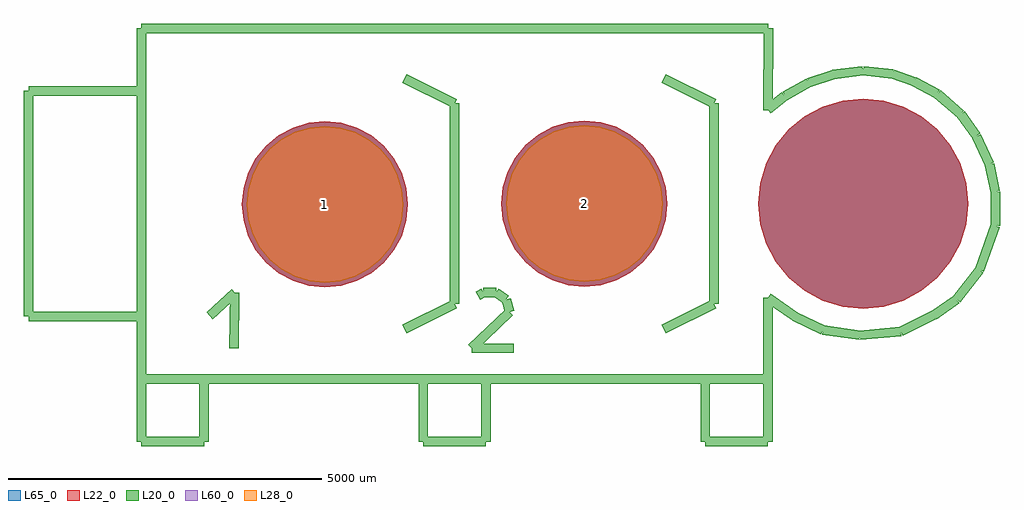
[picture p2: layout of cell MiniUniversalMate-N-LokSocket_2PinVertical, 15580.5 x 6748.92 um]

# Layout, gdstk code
import gdstk
lib = gdstk.Library(unit=1e-6, precision=1e-09)
def P(c, l, *ps):  # polygons
    for p in ps: c.add(gdstk.Polygon(p, *l))
L20_0 = (20, 0)
L22_0 = (22, 0)
L28_0 = (28, 0)
L60_0 = (60, 0)
L65_0 = (65, 0)

miniuniversalmate_n_loks = lib.new_cell('MiniUniversalMate-N-LokSocket_2PinVertical')
P(miniuniversalmate_n_loks, L22_0, [(-745.42,-10.16),(-770.873,248.272),(-846.255,496.773),(-968.669,725.793),(-1133.41,926.53),(-1334.147,1091.271),(-1563.167,1213.685),(-1811.668,1289.067),(-2070.1,1314.52),(-2328.532,1289.067),(-2577.033,1213.685),(-2806.053,1091.271),(-3006.79,926.53),(-3171.531,725.793),(-3293.945,496.773),(-3369.327,248.272),(-3394.78,-10.16),(-3369.327,-268.592),(-3293.945,-517.093),(-3171.531,-746.113),(-3006.79,-946.85),(-2806.053,-1111.591),(-2577.033,-1234.005),(-2328.532,-1309.387),(-2070.1,-1334.84),(-1811.668,-1309.387),(-1563.167,-1234.005),(-1334.147,-1111.591),(-1133.41,-946.85),(-968.669,-746.113),(-846.255,-517.093),(-770.873,-268.592)],
  [(8195.38,0),(8163.192,326.815),(8067.863,641.071),(7913.058,930.691),(7704.725,1184.545),(7450.871,1392.878),(7161.251,1547.683),(6846.995,1643.012),(6520.18,1675.2),(6193.365,1643.012),(5879.109,1547.683),(5589.489,1392.878),(5335.635,1184.545),(5127.302,930.691),(4972.497,641.071),(4877.168,326.815),(4844.98,0),(4877.168,-326.815),(4972.497,-641.071),(5127.302,-930.691),(5335.635,-1184.545),(5589.489,-1392.878),(5879.109,-1547.683),(6193.365,-1643.012),(6520.18,-1675.2),(6846.995,-1643.012),(7161.251,-1547.683),(7450.871,-1392.878),(7704.725,-1184.545),(7913.058,-930.691),(8067.863,-641.071),(8163.192,-326.815)],
  [(3394.78,0),(3369.327,258.432),(3293.945,506.933),(3171.531,735.953),(3006.79,936.69),(2806.053,1101.431),(2577.033,1223.845),(2328.532,1299.227),(2070.1,1324.68),(1811.668,1299.227),(1563.167,1223.845),(1334.147,1101.431),(1133.41,936.69),(968.669,735.953),(846.255,506.933),(770.873,258.432),(745.42,0),(770.873,-258.432),(846.255,-506.933),(968.669,-735.953),(1133.41,-936.69),(1334.147,-1101.431),(1563.167,-1223.845),(1811.668,-1299.227),(2070.1,-1324.68),(2328.532,-1299.227),(2577.033,-1223.845),(2806.053,-1101.431),(3006.79,-936.69),(3171.531,-735.953),(3293.945,-506.933),(3369.327,-258.432)])
P(miniuniversalmate_n_loks, L28_0, [(-820.42,-10.16),(-844.432,233.64),(-915.546,468.072),(-1031.029,684.125),(-1186.443,873.497),(-1375.815,1028.911),(-1591.868,1144.394),(-1826.3,1215.508),(-2070.1,1239.52),(-2313.9,1215.508),(-2548.332,1144.394),(-2764.385,1028.911),(-2953.757,873.497),(-3109.171,684.125),(-3224.654,468.072),(-3295.768,233.64),(-3319.78,-10.16),(-3295.768,-253.96),(-3224.654,-488.392),(-3109.171,-704.445),(-2953.757,-893.817),(-2764.385,-1049.231),(-2548.332,-1164.714),(-2313.9,-1235.828),(-2070.1,-1259.84),(-1826.3,-1235.828),(-1591.868,-1164.714),(-1375.815,-1049.231),(-1186.443,-893.817),(-1031.029,-704.445),(-915.546,-488.392),(-844.432,-253.96)],
  [(3319.78,0),(3295.768,243.8),(3224.654,478.232),(3109.171,694.285),(2953.757,883.657),(2764.385,1039.071),(2548.332,1154.554),(2313.9,1225.668),(2070.1,1249.68),(1826.3,1225.668),(1591.868,1154.554),(1375.815,1039.071),(1186.443,883.657),(1031.029,694.285),(915.546,478.232),(844.432,243.8),(820.42,0),(844.432,-243.8),(915.546,-478.232),(1031.029,-694.285),(1186.443,-883.657),(1375.815,-1039.071),(1591.868,-1154.554),(1826.3,-1225.668),(2070.1,-1249.68),(2313.9,-1225.668),(2548.332,-1154.554),(2764.385,-1039.071),(2953.757,-883.657),(3109.171,-694.285),(3224.654,-478.232),(3295.768,-243.8)])
P(miniuniversalmate_n_loks, L60_0, [(-820.42,-10.16),(-844.432,233.64),(-915.546,468.072),(-1031.029,684.125),(-1186.443,873.497),(-1375.815,1028.911),(-1591.868,1144.394),(-1826.3,1215.508),(-2070.1,1239.52),(-2313.9,1215.508),(-2548.332,1144.394),(-2764.385,1028.911),(-2953.757,873.497),(-3109.171,684.125),(-3224.654,468.072),(-3295.768,233.64),(-3319.78,-10.16),(-3295.768,-253.96),(-3224.654,-488.392),(-3109.171,-704.445),(-2953.757,-893.817),(-2764.385,-1049.231),(-2548.332,-1164.714),(-2313.9,-1235.828),(-2070.1,-1259.84),(-1826.3,-1235.828),(-1591.868,-1164.714),(-1375.815,-1049.231),(-1186.443,-893.817),(-1031.029,-704.445),(-915.546,-488.392),(-844.432,-253.96)],
  [(3319.78,0),(3295.768,243.8),(3224.654,478.232),(3109.171,694.285),(2953.757,883.657),(2764.385,1039.071),(2548.332,1154.554),(2313.9,1225.668),(2070.1,1249.68),(1826.3,1225.668),(1591.868,1154.554),(1375.815,1039.071),(1186.443,883.657),(1031.029,694.285),(915.546,478.232),(844.432,243.8),(820.42,0),(844.432,-243.8),(915.546,-478.232),(1031.029,-694.285),(1186.443,-883.657),(1375.815,-1039.071),(1591.868,-1154.554),(1826.3,-1225.668),(2070.1,-1249.68),(2313.9,-1225.668),(2548.332,-1154.554),(2764.385,-1039.071),(2953.757,-883.657),(3109.171,-694.285),(3224.654,-478.232),(3295.768,-243.8)])
P(miniuniversalmate_n_loks, L65_0, [(-745.42,-10.16),(-770.873,248.272),(-846.255,496.773),(-968.669,725.793),(-1133.41,926.53),(-1334.147,1091.271),(-1563.167,1213.685),(-1811.668,1289.067),(-2070.1,1314.52),(-2328.532,1289.067),(-2577.033,1213.685),(-2806.053,1091.271),(-3006.79,926.53),(-3171.531,725.793),(-3293.945,496.773),(-3369.327,248.272),(-3394.78,-10.16),(-3369.327,-268.592),(-3293.945,-517.093),(-3171.531,-746.113),(-3006.79,-946.85),(-2806.053,-1111.591),(-2577.033,-1234.005),(-2328.532,-1309.387),(-2070.1,-1334.84),(-1811.668,-1309.387),(-1563.167,-1234.005),(-1334.147,-1111.591),(-1133.41,-946.85),(-968.669,-746.113),(-846.255,-517.093),(-770.873,-268.592)],
  [(8195.38,0),(8163.192,326.815),(8067.863,641.071),(7913.058,930.691),(7704.725,1184.545),(7450.871,1392.878),(7161.251,1547.683),(6846.995,1643.012),(6520.18,1675.2),(6193.365,1643.012),(5879.109,1547.683),(5589.489,1392.878),(5335.635,1184.545),(5127.302,930.691),(4972.497,641.071),(4877.168,326.815),(4844.98,0),(4877.168,-326.815),(4972.497,-641.071),(5127.302,-930.691),(5335.635,-1184.545),(5589.489,-1392.878),(5879.109,-1547.683),(6193.365,-1643.012),(6520.18,-1675.2),(6846.995,-1643.012),(7161.251,-1547.683),(7450.871,-1392.878),(7704.725,-1184.545),(7913.058,-930.691),(8067.863,-641.071),(8163.192,-326.815)],
  [(3394.78,0),(3369.327,258.432),(3293.945,506.933),(3171.531,735.953),(3006.79,936.69),(2806.053,1101.431),(2577.033,1223.845),(2328.532,1299.227),(2070.1,1324.68),(1811.668,1299.227),(1563.167,1223.845),(1334.147,1101.431),(1133.41,936.69),(968.669,735.953),(846.255,506.933),(770.873,258.432),(745.42,0),(770.873,-258.432),(846.255,-506.933),(968.669,-735.953),(1133.41,-936.69),(1334.147,-1101.431),(1563.167,-1223.845),(1811.668,-1299.227),(2070.1,-1324.68),(2328.532,-1299.227),(2577.033,-1223.845),(2806.053,-1101.431),(3006.79,-936.69),(3171.531,-735.953),(3293.945,-506.933),(3369.327,-258.432)])
miniuniversalmate_n_loks.add(gdstk.FlexPath([(5008.88,2799.08),(5001.26,1490.98)], 149.998, ends="flush", simple_path=True, layer=20, datatype=0))  # L20_0
miniuniversalmate_n_loks.add(gdstk.FlexPath([(-5001.26,2799.08),(5008.88,2799.08)], 149.998, ends="flush", simple_path=True, layer=20, datatype=0))  # L20_0
miniuniversalmate_n_loks.add(gdstk.FlexPath([(5001.26,-2799.08),(5001.26,-1501.14)], 149.998, ends="flush", simple_path=True, layer=20, datatype=0))  # L20_0
miniuniversalmate_n_loks.add(gdstk.FlexPath([(-5001.26,-2799.08),(5001.26,-2799.08)], 149.998, ends="flush", simple_path=True, layer=20, datatype=0))  # L20_0
miniuniversalmate_n_loks.add(gdstk.FlexPath([(-5001.26,2799.08),(-5001.26,-2799.08)], 149.998, ends="flush", simple_path=True, layer=20, datatype=0))  # L20_0
miniuniversalmate_n_loks.add(gdstk.FlexPath([(5430.52,-1800.86),(5001.26,-1501.14)], 149.998, ends="flush", simple_path=True, layer=20, datatype=0))  # L20_0
miniuniversalmate_n_loks.add(gdstk.FlexPath([(5880.1,-2019.3),(5430.52,-1800.86)], 149.998, ends="flush", simple_path=True, layer=20, datatype=0))  # L20_0
miniuniversalmate_n_loks.add(gdstk.FlexPath([(6469.38,-2100.58),(5880.1,-2019.3)], 149.998, ends="flush", simple_path=True, layer=20, datatype=0))  # L20_0
miniuniversalmate_n_loks.add(gdstk.FlexPath([(7119.62,-2039.62),(6469.38,-2100.58)], 149.998, ends="flush", simple_path=True, layer=20, datatype=0))  # L20_0
miniuniversalmate_n_loks.add(gdstk.FlexPath([(7650.48,-1780.54),(7119.62,-2039.62)], 149.998, ends="flush", simple_path=True, layer=20, datatype=0))  # L20_0
miniuniversalmate_n_loks.add(gdstk.FlexPath([(8011.16,-1529.08),(7650.48,-1780.54)], 149.998, ends="flush", simple_path=True, layer=20, datatype=0))  # L20_0
miniuniversalmate_n_loks.add(gdstk.FlexPath([(8379.46,-1059.18),(8011.16,-1529.08)], 149.998, ends="flush", simple_path=True, layer=20, datatype=0))  # L20_0
miniuniversalmate_n_loks.add(gdstk.FlexPath([(8630.92,-350.52),(8379.46,-1059.18)], 149.998, ends="flush", simple_path=True, layer=20, datatype=0))  # L20_0
miniuniversalmate_n_loks.add(gdstk.FlexPath([(8630.92,190.5),(8630.92,-350.52)], 149.998, ends="flush", simple_path=True, layer=20, datatype=0))  # L20_0
miniuniversalmate_n_loks.add(gdstk.FlexPath([(8539.48,629.92),(8630.92,190.5)], 149.998, ends="flush", simple_path=True, layer=20, datatype=0))  # L20_0
miniuniversalmate_n_loks.add(gdstk.FlexPath([(8331.2,1079.5),(8539.48,629.92)], 149.998, ends="flush", simple_path=True, layer=20, datatype=0))  # L20_0
miniuniversalmate_n_loks.add(gdstk.FlexPath([(8079.74,1430.02),(8331.2,1079.5)], 149.998, ends="flush", simple_path=True, layer=20, datatype=0))  # L20_0
miniuniversalmate_n_loks.add(gdstk.FlexPath([(7708.9,1750.06),(8079.74,1430.02)], 149.998, ends="flush", simple_path=True, layer=20, datatype=0))  # L20_0
miniuniversalmate_n_loks.add(gdstk.FlexPath([(7330.44,1950.72),(7708.9,1750.06)], 149.998, ends="flush", simple_path=True, layer=20, datatype=0))  # L20_0
miniuniversalmate_n_loks.add(gdstk.FlexPath([(6990.08,2070.1),(7330.44,1950.72)], 149.998, ends="flush", simple_path=True, layer=20, datatype=0))  # L20_0
miniuniversalmate_n_loks.add(gdstk.FlexPath([(6520.18,2120.9),(6990.08,2070.1)], 149.998, ends="flush", simple_path=True, layer=20, datatype=0))  # L20_0
miniuniversalmate_n_loks.add(gdstk.FlexPath([(6040.12,2059.94),(6520.18,2120.9)], 149.998, ends="flush", simple_path=True, layer=20, datatype=0))  # L20_0
miniuniversalmate_n_loks.add(gdstk.FlexPath([(5648.96,1930.4),(6040.12,2059.94)], 149.998, ends="flush", simple_path=True, layer=20, datatype=0))  # L20_0
miniuniversalmate_n_loks.add(gdstk.FlexPath([(5270.5,1719.58),(5648.96,1930.4)], 149.998, ends="flush", simple_path=True, layer=20, datatype=0))  # L20_0
miniuniversalmate_n_loks.add(gdstk.FlexPath([(5001.26,1501.14),(5270.5,1719.58)], 149.998, ends="flush", simple_path=True, layer=20, datatype=0))  # L20_0
miniuniversalmate_n_loks.add(gdstk.FlexPath([(-6799.58,-1800.86),(-5001.26,-1800.86)], 149.998, ends="flush", simple_path=True, layer=20, datatype=0))  # L20_0
miniuniversalmate_n_loks.add(gdstk.FlexPath([(-6799.58,1800.86),(-6799.58,-1800.86)], 149.998, ends="flush", simple_path=True, layer=20, datatype=0))  # L20_0
miniuniversalmate_n_loks.add(gdstk.FlexPath([(-5001.26,1800.86),(-6799.58,1800.86)], 149.998, ends="flush", simple_path=True, layer=20, datatype=0))  # L20_0
miniuniversalmate_n_loks.add(gdstk.FlexPath([(-4000.5,-3799.84),(-4000.5,-2799.08)], 149.998, ends="flush", simple_path=True, layer=20, datatype=0))  # L20_0
miniuniversalmate_n_loks.add(gdstk.FlexPath([(-5001.26,-3799.84),(-4000.5,-3799.84)], 149.998, ends="flush", simple_path=True, layer=20, datatype=0))  # L20_0
miniuniversalmate_n_loks.add(gdstk.FlexPath([(-5001.26,-2799.08),(-5001.26,-3799.84)], 149.998, ends="flush", simple_path=True, layer=20, datatype=0))  # L20_0
miniuniversalmate_n_loks.add(gdstk.FlexPath([(4000.5,-3799.84),(4000.5,-2799.08)], 149.998, ends="flush", simple_path=True, layer=20, datatype=0))  # L20_0
miniuniversalmate_n_loks.add(gdstk.FlexPath([(5001.26,-3799.84),(4000.5,-3799.84)], 149.998, ends="flush", simple_path=True, layer=20, datatype=0))  # L20_0
miniuniversalmate_n_loks.add(gdstk.FlexPath([(5001.26,-2799.08),(5001.26,-3799.84)], 149.998, ends="flush", simple_path=True, layer=20, datatype=0))  # L20_0
miniuniversalmate_n_loks.add(gdstk.FlexPath([(-500.38,-3799.84),(-500.38,-2799.08)], 149.998, ends="flush", simple_path=True, layer=20, datatype=0))  # L20_0
miniuniversalmate_n_loks.add(gdstk.FlexPath([(500.38,-3799.84),(-500.38,-3799.84)], 149.998, ends="flush", simple_path=True, layer=20, datatype=0))  # L20_0
miniuniversalmate_n_loks.add(gdstk.FlexPath([(500.38,-2799.08),(500.38,-3799.84)], 149.998, ends="flush", simple_path=True, layer=20, datatype=0))  # L20_0
miniuniversalmate_n_loks.add(gdstk.FlexPath([(0,1600.2),(0,-1600.2)], 149.998, ends="flush", simple_path=True, layer=20, datatype=0))  # L20_0
miniuniversalmate_n_loks.add(gdstk.FlexPath([(4140.2,1600.2),(4140.2,-1600.2)], 149.998, ends="flush", simple_path=True, layer=20, datatype=0))  # L20_0
miniuniversalmate_n_loks.add(gdstk.FlexPath([(0,-1600.2),(-800.1,-1998.98)], 149.998, ends="flush", simple_path=True, layer=20, datatype=0))  # L20_0
miniuniversalmate_n_loks.add(gdstk.FlexPath([(4140.2,-1600.2),(3340.1,-1998.98)], 149.998, ends="flush", simple_path=True, layer=20, datatype=0))  # L20_0
miniuniversalmate_n_loks.add(gdstk.FlexPath([(4140.2,1600.2),(3340.1,1998.98)], 149.998, ends="flush", simple_path=True, layer=20, datatype=0))  # L20_0
miniuniversalmate_n_loks.add(gdstk.FlexPath([(0,1600.2),(-800.1,1998.98)], 149.998, ends="flush", simple_path=True, layer=20, datatype=0))  # L20_0
miniuniversalmate_n_loks.add(gdstk.FlexPath([(-3510.28,-1419.86),(-3520.44,-2308.86)], 149.998, ends="flush", simple_path=True, layer=20, datatype=0))  # L20_0
miniuniversalmate_n_loks.add(gdstk.FlexPath([(-3909.06,-1790.7),(-3510.28,-1419.86)], 149.998, ends="flush", simple_path=True, layer=20, datatype=0))  # L20_0
miniuniversalmate_n_loks.add(gdstk.FlexPath([(269.24,-2308.86),(939.8,-2308.86)], 149.998, ends="flush", simple_path=True, layer=20, datatype=0))  # L20_0
miniuniversalmate_n_loks.add(gdstk.FlexPath([(878.84,-1729.74),(269.24,-2308.86)], 149.998, ends="flush", simple_path=True, layer=20, datatype=0))  # L20_0
miniuniversalmate_n_loks.add(gdstk.FlexPath([(820.42,-1529.08),(878.84,-1729.74)], 149.998, ends="flush", simple_path=True, layer=20, datatype=0))  # L20_0
miniuniversalmate_n_loks.add(gdstk.FlexPath([(660.4,-1419.86),(820.42,-1529.08)], 149.998, ends="flush", simple_path=True, layer=20, datatype=0))  # L20_0
miniuniversalmate_n_loks.add(gdstk.FlexPath([(459.74,-1419.86),(660.4,-1419.86)], 149.998, ends="flush", simple_path=True, layer=20, datatype=0))  # L20_0
miniuniversalmate_n_loks.add(gdstk.FlexPath([(370.84,-1470.66),(459.74,-1419.86)], 149.998, ends="flush", simple_path=True, layer=20, datatype=0))  # L20_0
miniuniversalmate_n_loks.add(gdstk.Label('1', (-2070.1,-10.16), layer=28, texttype=0))
miniuniversalmate_n_loks.add(gdstk.Label('2', (2070.1,0), layer=28, texttype=0))
miniuniversalmate_n_loks.add(gdstk.Label('type', (-701.04,-5621.02), layer=9, texttype=0))
miniuniversalmate_n_loks.add(gdstk.Label('devicename', (71.12,5430.52), layer=9, texttype=0))

lib.write_gds('MiniUniversalMate-N-LokSocket_2PinVertical.gds')
